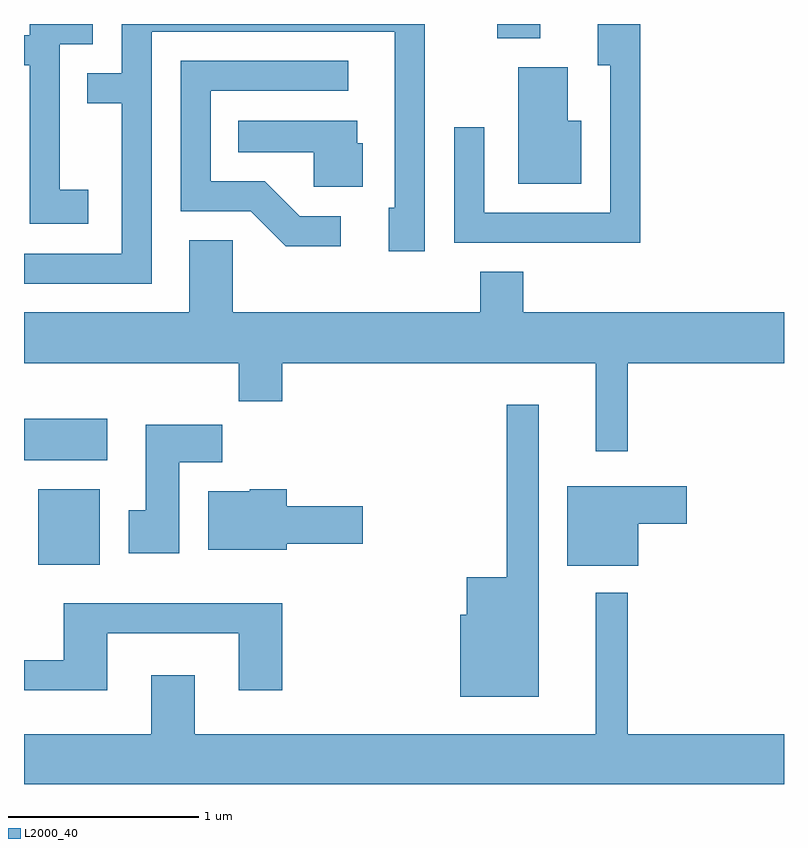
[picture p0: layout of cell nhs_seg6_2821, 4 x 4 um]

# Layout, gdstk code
import gdstk
lib = gdstk.Library(unit=1e-6, precision=1e-09)
def R(c, l, rs):  # rectangles x0, y0, x1, y1
    for r in rs: c.add(gdstk.rectangle(r[:2], r[2:], *l))
def P(c, l, *ps):  # polygons
    for p in ps: c.add(gdstk.Polygon(p, *l))
L2000_40 = (2000, 40)

nhs_seg6_2821 = lib.new_cell('nhs_seg6_2821')
R(nhs_seg6_2821, L2000_40, [(269.686,1653.316,270.009,1653.714), (269.611,1653.866,270.049,1654.084), (272.101,1656.086,272.329,1656.162)])
P(nhs_seg6_2821, L2000_40, [(269.949,1655.289),(269.799,1655.289),(269.799,1656.056),(269.974,1656.056),(269.974,1656.162),(269.641,1656.162),(269.641,1656.104),(269.611,1656.104),(269.611,1655.946),(269.641,1655.946),(269.641,1655.111),(269.949,1655.111)],
  [(270.284,1656.121),(271.561,1656.121),(271.561,1655.194),(271.531,1655.194),(271.531,1654.966),(271.719,1654.966),(271.719,1656.162),(270.126,1656.162),(270.126,1655.904),(269.943,1655.904),(269.943,1655.746),(270.126,1655.746),(270.126,1654.954),(269.611,1654.954),(269.611,1654.796),(270.284,1654.796)],
  [(272.854,1656.162),(272.631,1656.162),(272.631,1655.946),(272.696,1655.946),(272.696,1655.169),(272.034,1655.169),(272.034,1655.618),(271.876,1655.618),(271.876,1655.011),(272.854,1655.011)],
  [(271.278,1655.149),(271.062,1655.149),(270.877,1655.334),(270.594,1655.334),(270.594,1655.811),(271.318,1655.811),(271.318,1655.969),(270.436,1655.969),(270.436,1655.176),(270.804,1655.176),(270.989,1654.991),(271.278,1654.991)],
  [(272.544,1655.654),(272.474,1655.654),(272.474,1655.934),(272.211,1655.934),(272.211,1655.321),(272.544,1655.321)],
  [(271.394,1655.534),(271.364,1655.534),(271.364,1655.654),(270.738,1655.654),(270.738,1655.486),(271.136,1655.486),(271.136,1655.306),(271.394,1655.306)],
  [(272.789,1654.376),(273.611,1654.376),(273.611,1654.644),(272.239,1654.644),(272.239,1654.859),(272.011,1654.859),(272.011,1654.644),(270.709,1654.644),(270.709,1655.024),(270.481,1655.024),(270.481,1654.644),(269.611,1654.644),(269.611,1654.376),(270.741,1654.376),(270.741,1654.176),(270.969,1654.176),(270.969,1654.376),(272.621,1654.376),(272.621,1653.913),(272.789,1653.913)],
  [(272.319,1654.158),(272.151,1654.158),(272.151,1653.249),(271.941,1653.249),(271.941,1653.054),(271.906,1653.054),(271.906,1652.621),(272.319,1652.621)],
  [(270.429,1653.856),(270.654,1653.856),(270.654,1654.054),(270.251,1654.054),(270.251,1653.604),(270.161,1653.604),(270.161,1653.376),(270.429,1653.376)],
  [(272.844,1653.531),(273.099,1653.531),(273.099,1653.729),(272.471,1653.729),(272.471,1653.311),(272.844,1653.311)],
  [(270.994,1653.426),(271.394,1653.426),(271.394,1653.624),(270.994,1653.624),(270.994,1653.714),(270.8,1653.714),(270.8,1653.704),(270.581,1653.704),(270.581,1653.396),(270.994,1653.396)],
  [(270.509,1652.734),(270.281,1652.734),(270.281,1652.424),(269.611,1652.424),(269.611,1652.162),(273.611,1652.162),(273.611,1652.424),(272.789,1652.424),(272.789,1653.168),(272.621,1653.168),(272.621,1652.424),(270.509,1652.424)],
  [(270.049,1652.956),(270.741,1652.956),(270.741,1652.656),(270.969,1652.656),(270.969,1653.114),(269.821,1653.114),(269.821,1652.814),(269.611,1652.814),(269.611,1652.656),(270.049,1652.656)])

lib.write_gds('nhs_seg6_2821.gds')
